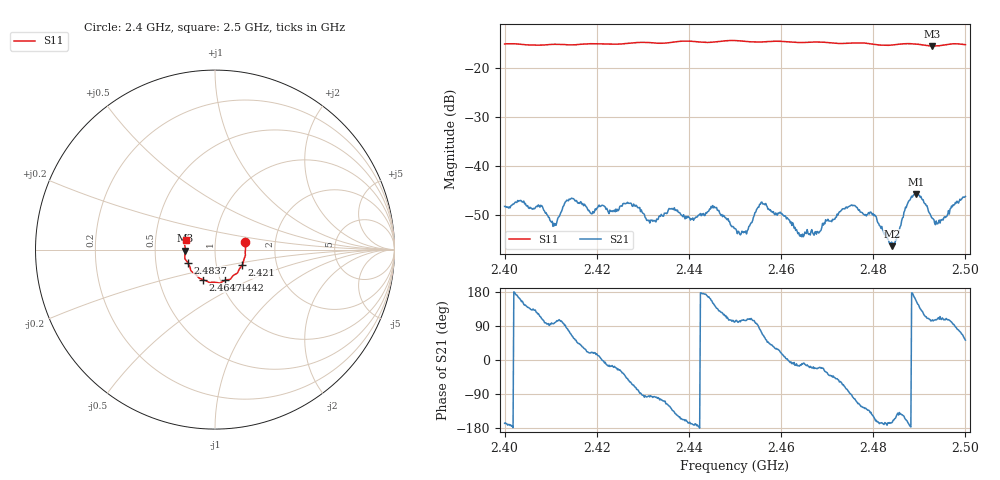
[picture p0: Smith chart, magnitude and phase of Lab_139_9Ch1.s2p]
# Hz S RI R 50
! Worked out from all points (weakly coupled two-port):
!   601 points, 2.4 GHz to 2.5 GHz, reference 50 ohm
!   highest |S21| = -45.78 dB at 2.4893 GHz (marker M1); lowest = -56.4 dB at 2.4842 GHz (marker M2)
!   lowest |S11| = -15.6 dB at 2.4928 GHz (marker M3), VSWR 1.40, Z = 35.8 - j0.373 ohm
!   |S11| at or under -10 dB: start of sweep to end of sweep
!   S12 and S22 are empty: the file has one direction only
!   S11 on the Smith chart (normalised r, x): 2.4 GHz: 1.40, +0.12; 2.421 GHz: 1.33, -0.24; 2.4442 GHz: 1.05, -0.37; 2.4647 GHz: 0.83, -0.29; 2.4837 GHz: 0.73, -0.11; 2.5 GHz: 0.72, +0.08
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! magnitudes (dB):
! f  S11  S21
! 2.4 GHz  -15.2  -48.3
! 2.4078 GHz  -15.4  -48.0
! 2.4108 GHz  -15.3  -52.2
! 2.4137 GHz  -15.4  -47.1
! 2.4167 GHz  -15.3  -47.5
! 2.421 GHz  -15.2  -48.1
! 2.427 GHz  -15.1  -47.7
! 2.4333 GHz  -15.1  -50.9
! 2.4442 GHz  -14.9  -49.3
! 2.45 GHz  -14.5  -52.8
! 2.4523 GHz  -14.7  -53.3
! 2.4562 GHz  -14.8  -47.8
! 2.4647 GHz  -14.9  -53.9
! 2.4667 GHz  -14.8  -53.0
! 2.4755 GHz  -15.0  -48.1
! 2.4802 GHz  -15.3  -50.2
! 2.4833 GHz  -15.5  -55.2
! 2.4837 GHz  -15.5  -55.7
! 2.4842 GHz  -15.4  -56.4
! 2.4893 GHz  -15.2  -45.8
! 2.4928 GHz  -15.6  -50.7
! 2.5 GHz  -15.3  -46.2
